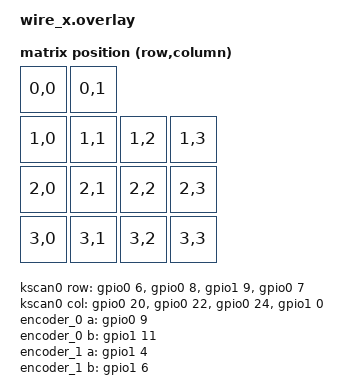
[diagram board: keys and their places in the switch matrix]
#include <dt-bindings/led/led.h>
#include <dt-bindings/zmk/matrix_transform.h>

&uart0 {
    status = "disabled";
};

&i2c0 {
    status = "disabled";
};

&i2c1 {
    status = "disabled";
};

&spi2 {
    status = "disabled";
};

&pinctrl {
    spi3_default: spi3_default {
        group1 {
            psels = <NRF_PSEL(SPIM_MOSI, 0, 10)>;
        };
    };

    spi3_sleep: spi3_sleep {
        group1 {
            psels = <NRF_PSEL(SPIM_MOSI, 0, 10)>;
            low-power-enable;
        };
    };
};

&spi3 {
    compatible = "nordic,nrf-spim";
    status = "okay";

    pinctrl-0 = <&spi3_default>;
    pinctrl-1 = <&spi3_sleep>;
    pinctrl-names = "default", "sleep";

    led_strip: ws2812@0 {
        compatible = "worldsemi,ws2812-spi";
        reg = <0>;
        spi-max-frequency = <4000000>;
        chain-length = <4>;
        spi-one-frame = <0x70>;
        spi-zero-frame = <0x40>;
        color-mapping = <LED_COLOR_ID_GREEN LED_COLOR_ID_RED LED_COLOR_ID_BLUE>;
    };
};

/ {
    chosen {
        zmk,kscan = &kscan0;
        zmk,matrix_transform = &default_transform;
        zmk,underglow = &led_strip;
    };

    kscan0: kscan {
        compatible = "zmk,kscan-gpio-matrix";
        wakeup-source;
        debounce-press-ms = <5>;
        debounce-release-ms = <5>;
        diode-direction = "col2row";
        row-gpios
            = <&gpio0 6 (GPIO_ACTIVE_HIGH | GPIO_PULL_DOWN)>
            , <&gpio0 8 (GPIO_ACTIVE_HIGH | GPIO_PULL_DOWN)>
            , <&gpio1 9 (GPIO_ACTIVE_HIGH | GPIO_PULL_DOWN)>
            , <&gpio0 7 (GPIO_ACTIVE_HIGH | GPIO_PULL_DOWN)>
            ;
        col-gpios
            = <&gpio0 20 GPIO_ACTIVE_HIGH>
            , <&gpio0 22 GPIO_ACTIVE_HIGH>
            , <&gpio0 24 GPIO_ACTIVE_HIGH>
            , <&gpio1 0 GPIO_ACTIVE_HIGH>
            ;
    };

    encoder_0: encoder_0 {
        compatible = "alps,ec11";
        a-gpios = <&gpio0 9 GPIO_PULL_UP>;
        b-gpios = <&gpio1 11 GPIO_PULL_UP>;
        steps = <80>;
    };

    encoder_1: encoder_1 {
        compatible = "alps,ec11";
        a-gpios = <&gpio1 4 GPIO_PULL_UP>;
        b-gpios = <&gpio1 6 GPIO_PULL_UP>;
        steps = <80>;
    };

    sensors: sensors {
        compatible = "zmk,keymap-sensors";
        sensors = <&encoder_0 &encoder_1>;
        triggers-per-rotation = <20>;
    };

    default_transform: keymap_transform_0 {
        compatible = "zmk,matrix-transform";
        columns = <4>;
        rows = <4>;
        map = <
            RC(0,0) RC(0,1)
            RC(1,0) RC(1,1) RC(1,2) RC(1,3)
            RC(2,0) RC(2,1) RC(2,2) RC(2,3)
            RC(3,0) RC(3,1) RC(3,2) RC(3,3)
        >;
    };
};
